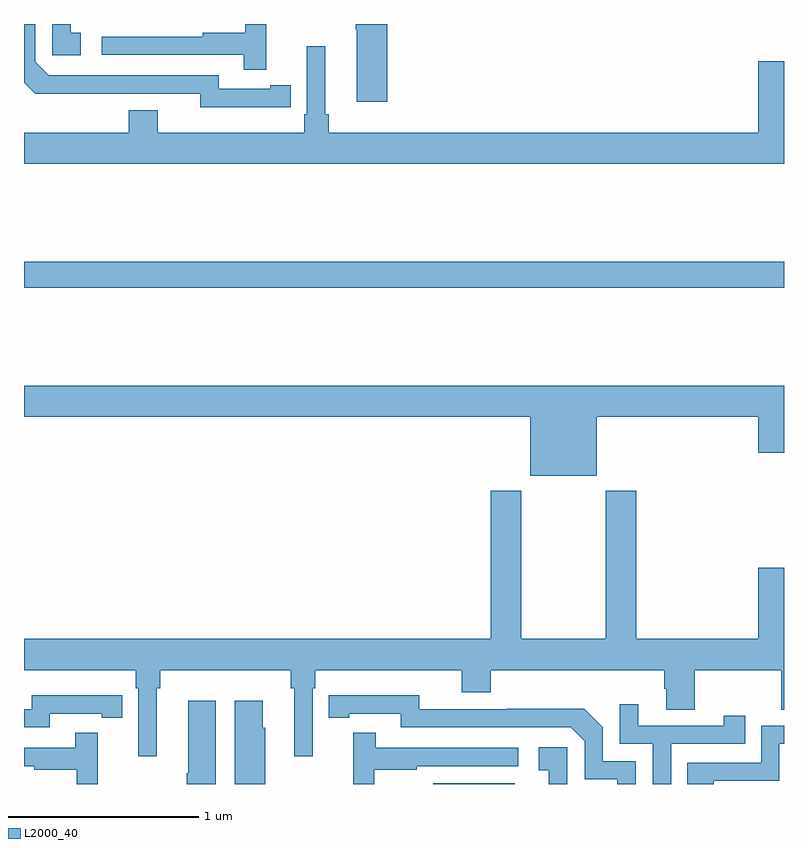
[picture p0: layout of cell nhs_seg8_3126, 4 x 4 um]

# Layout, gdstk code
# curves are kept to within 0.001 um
import gdstk
lib = gdstk.Library(unit=1e-6, precision=1e-09)
def R(c, l, rs):  # rectangles x0, y0, x1, y1
    for r in rs: c.add(gdstk.rectangle(r[:2], r[2:], *l))
def P(c, l, *ps):  # polygons
    for p in ps: c.add(gdstk.Polygon(p, *l))
L2000_40 = (2000, 40)

nhs_seg8_3126 = lib.new_cell('nhs_seg8_3126')
R(nhs_seg8_3126, L2000_40, [(307.155,1115.9,307.582,1115.905), (305,1118.512,309,1118.648)])
P(nhs_seg8_3126, L2000_40, [(305.299,1119.855),(305.246,1119.855),(305.246,1119.9),(305.148,1119.9),(305.148,1119.735),(305.299,1119.735)],
  [(306.911,1119.9),(306.745,1119.9),(306.745,1119.871),(306.752,1119.871),(306.752,1119.492),(306.911,1119.492)],
  [(306.296,1119.462),(306.404,1119.462),(306.404,1119.578),(306.296,1119.578),(306.296,1119.558),(306.024,1119.558),(306.024,1119.63),(305.13,1119.63),(305.058,1119.702),(305.058,1119.9),(305,1119.9),(305,1119.592),(305.06,1119.533),(305.928,1119.534),(305.928,1119.461)],
  [(306.275,1119.9),(306.165,1119.9),(306.165,1119.854),(305.941,1119.854),(305.941,1119.834),(305.409,1119.834),(305.409,1119.738),(306.157,1119.738),(306.157,1119.66),(306.275,1119.66)],
  [(309,1119.703),(308.864,1119.703),(308.864,1119.328),(306.605,1119.328),(306.605,1119.424),(306.586,1119.424),(306.586,1119.784),(306.489,1119.784),(306.489,1119.424),(306.476,1119.424),(306.476,1119.328),(305.704,1119.328),(305.704,1119.445),(305.552,1119.445),(305.552,1119.328),(305,1119.328),(305,1119.164),(309,1119.164)],
  [(308.014,1117.832),(308.864,1117.832),(308.864,1117.644),(309,1117.644),(309,1117.996),(305,1117.996),(305,1117.832),(307.664,1117.832),(307.664,1117.523),(308.014,1117.523)],
  [(308.222,1117.444),(308.062,1117.444),(308.062,1116.664),(307.617,1116.664),(307.617,1117.444),(307.457,1117.444),(307.457,1116.664),(305,1116.664),(305,1116.5),(305.588,1116.5),(305.588,1116.404),(305.601,1116.404),(305.601,1116.045),(305.698,1116.045),(305.698,1116.404),(305.717,1116.404),(305.717,1116.5),(306.403,1116.5),(306.403,1116.404),(306.422,1116.404),(306.422,1116.045),(306.519,1116.045),(306.519,1116.404),(306.533,1116.404),(306.533,1116.5),(307.304,1116.5),(307.304,1116.383),(307.457,1116.383),(307.457,1116.5),(308.369,1116.5),(308.369,1116.402),(308.381,1116.402),(308.381,1116.292),(308.529,1116.292),(308.529,1116.5),(308.986,1116.5),(308.986,1116.292),(309,1116.292),(309,1117.039),(308.864,1117.039),(308.864,1116.664),(308.222,1116.664)],
  [(305.136,1116.27),(305.408,1116.27),(305.408,1116.25),(305.516,1116.25),(305.516,1116.366),(305.408,1116.366),(305.408,1116.367),(305.04,1116.367),(305.04,1116.294),(305,1116.294),(305,1116.198),(305.136,1116.198)],
  [(308.22,1116.021),(308.046,1116.021),(308.046,1116.198),(307.948,1116.296),(307.54,1116.296),(307.54,1116.294),(307.08,1116.294),(307.08,1116.367),(306.604,1116.366),(306.604,1116.25),(306.712,1116.25),(306.712,1116.27),(306.984,1116.27),(306.984,1116.198),(307.878,1116.198),(307.95,1116.126),(307.95,1115.925),(308.123,1115.925),(308.123,1115.9),(308.22,1115.9)],
  [(306.01,1116.337),(305.864,1116.337),(305.864,1115.957),(305.857,1115.957),(305.857,1115.9),(306.01,1115.9)],
  [(306.271,1116.195),(306.256,1116.195),(306.256,1116.337),(306.11,1116.337),(306.11,1115.9),(306.271,1115.9)],
  [(308.406,1116.111),(308.795,1116.111),(308.795,1116.259),(308.684,1116.259),(308.684,1116.207),(308.233,1116.207),(308.233,1116.319),(308.136,1116.319),(308.136,1116.111),(308.31,1116.111),(308.31,1115.9),(308.406,1115.9)],
  [(308.631,1115.916),(308.976,1115.916),(308.976,1116.111),(309,1116.111),(309,1116.207),(308.88,1116.207),(308.88,1116.012),(308.491,1116.012),(308.491,1115.9),(308.631,1115.9)],
  [(306.844,1115.974),(307.067,1115.974),(307.067,1115.994),(307.6,1115.994),(307.6,1116.09),(306.851,1116.09),(306.851,1116.169),(306.734,1116.169),(306.734,1115.9),(306.844,1115.9)],
  [(305.387,1116.169),(305.269,1116.169),(305.269,1116.09),(305,1116.09),(305,1115.994),(305.053,1115.994),(305.053,1115.974),(305.277,1115.974),(305.277,1115.9),(305.387,1115.9)],
  [(307.86,1116.094),(307.71,1116.094),(307.71,1115.973),(307.763,1115.973),(307.763,1115.9),(307.86,1115.9)])

lib.write_gds('nhs_seg8_3126.gds')
